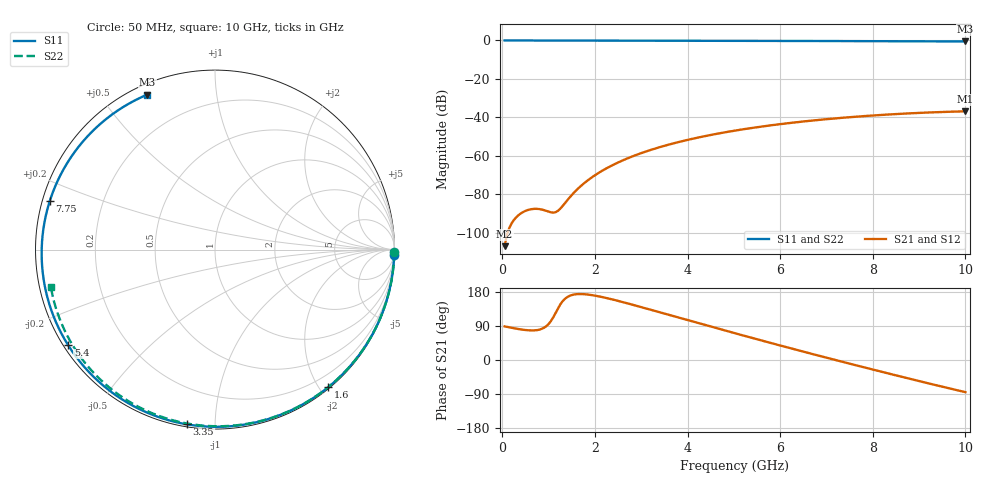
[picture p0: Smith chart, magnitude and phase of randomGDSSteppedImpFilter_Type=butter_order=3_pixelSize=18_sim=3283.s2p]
! freq	dB(S11)	phase(S11)	dB(S12)	phase(S12)
!  dB(S21)	phase(S21)	dB(S22)	phase(S22)
!S-par simulation data
#  GHz  S  DB  R 50
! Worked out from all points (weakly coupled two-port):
!   200 points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, 50 MHz to 10 GHz, reference 50 ohm
!   highest |S21| = -36.87 dB at 10 GHz (marker M1); lowest = -107.0 dB at 50 MHz (marker M2)
!   lowest |S11| = -0.5 dB at 10 GHz (marker M3), VSWR 33.62, Z = 2.12 + j32.7 ohm
!   |S11| at or under -10 dB: nowhere
!   |S22| runs from -0.6 to 0.0 dB; largest |S21 - S12| = 0
!   S11 on the Smith chart (normalised r, x): 50 MHz: 2, -73; 1.6 GHz: 0.02, -2.12; 3.35 GHz: 0.01, -0.85; 5.4 GHz: 0.01, -0.30; 7.75 GHz: 0.02, +0.15; 10 GHz: 0.04, +0.65
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0.05  -0.01 -1.6  -107.01 88.7  -107.01 88.7  -0.00 -0.9
0.4  -0.02 -13.0  -89.97 80.7  -89.97 80.7  -0.01 -7.6
0.75  -0.03 -24.2  -87.60 78.9  -87.60 78.9  -0.02 -14.2
1.1  -0.04 -35.3  -89.55 112.6  -89.55 112.6  -0.03 -20.8
1.5  -0.06 -47.6  -80.40 171.3  -80.40 171.3  -0.04 -28.2
1.6  -0.06 -50.6  -77.88 173.7  -77.88 173.7  -0.04 -30.1
1.75  -0.07 -55.1  -74.60 173.8  -74.60 173.8  -0.04 -32.9
2.05  -0.08 -63.9  -69.35 168.8  -69.35 168.8  -0.05 -38.3
2.45  -0.09 -75.2  -64.04 157.6  -64.04 157.6  -0.06 -45.6
2.85  -0.10 -86.1  -59.93 144.6  -59.93 144.6  -0.07 -52.7
3.35  -0.12 -99.1  -55.86 127.6  -55.86 127.6  -0.08 -61.4
3.4  -0.12 -100.4  -55.50 125.9  -55.50 125.9  -0.08 -62.3
4.15  -0.15 -118.7  -50.91 100.2  -50.91 100.2  -0.11 -75.1
5.05  -0.19 -139.3  -46.79 69.8  -46.79 69.8  -0.14 -89.9
5.4  -0.21 -146.9  -45.48 58.1  -45.48 58.1  -0.15 -95.5
6.05  -0.25 -160.8  -43.39 36.7  -43.39 36.7  -0.19 -105.8
6.7  -0.29 -174.5  -41.65 15.7  -41.65 15.7  -0.23 -115.9
7.2  -0.32 175.0  -40.52 -0.2  -40.52 -0.2  -0.26 -123.5
7.75  -0.36 163.5  -39.46 -17.4  -39.46 -17.4  -0.31 -131.9
8.35  -0.40 150.6  -38.50 -36.0  -38.50 -36.0  -0.36 -141.1
9.15  -0.46 133.1  -37.53 -60.1  -37.53 -60.1  -0.45 -153.6
10  -0.52 113.6  -36.87 -84.8  -36.87 -84.8  -0.56 -167.2
